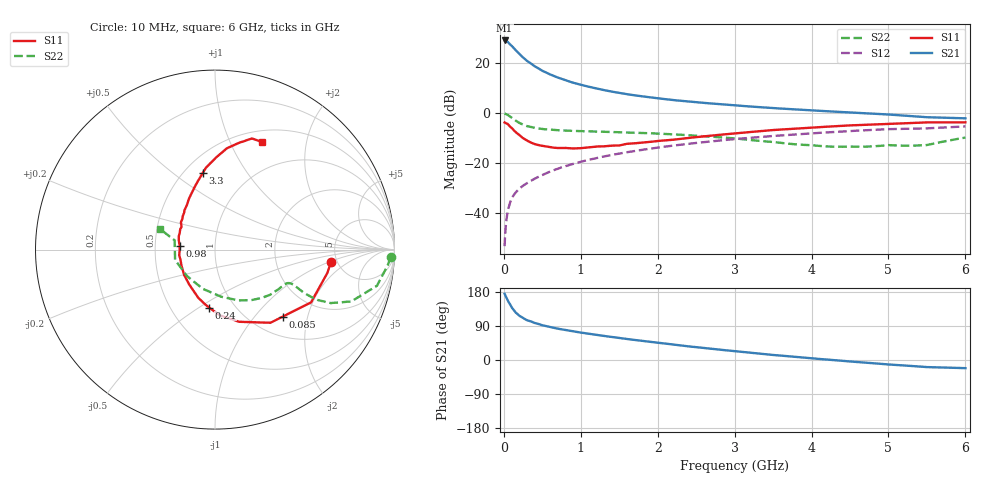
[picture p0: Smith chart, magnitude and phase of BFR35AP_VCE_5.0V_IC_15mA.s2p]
! Infineon Technologies  Discrete & RF Semiconductors
! BFR35AP
! VCE =  5.0 V,  IC =  15 mA
! Common Emitter S-Parameters:  Nov 2015
# GHz  S  MA  R  50
!  f  S11  S21  S12  S22
! GHz  MAG  ANG  MAG  ANG  MAG  ANG  MAG  ANG
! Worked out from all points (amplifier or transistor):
!   210 points, 10 MHz to 6 GHz, reference 50 ohm
!   highest |S21| = 29.0 dB at 10 MHz (marker M1)
!   |S21| within 3 dB of that: start of sweep to 127.7 MHz
!   unconditionally stable (mu >= 1): 479.3 MHz to 2.937 GHz
!   at 185 MHz: K = 0.65, MSG = 27.4 dB, |S12| = -30.7 dB
!   at 1.52 GHz: K = 1.10, MAG = 10.1 dB, |S12| = -16.0 dB
!   at 6 GHz: K = 0.93, MSG = 1.6 dB, |S12| = -5.3 dB
!   S11 on the Smith chart (normalised r, x): 10 MHz: 4.45, -1.06; 85 MHz: 1.36, -1.42; 240 MHz: 0.76, -0.55; 980 MHz: 0.67, +0.03; 3.3 GHz: 0.62, +0.64; 6 GHz: 0.63, +1.33
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0.01  0.65 -6.1  28.25 174.8  0.0022 91.6  0.9795 -2.5
0.02  0.6392 -11.8  28 170.0  0.0044 81.0  0.9662 -5.2
0.05  0.6107 -28.8  26.49 157.0  0.0109 78.5  0.9245 -12.6
0.085  0.5307 -44.7  23.33 145.2  0.017 71.5  0.8443 -18.1
0.1  0.5116 -52.8  22.34 139.2  0.0197 69.8  0.8127 -20.8
0.15  0.4241 -71.5  18.37 125.7  0.0256 65.7  0.7111 -24.8
0.2  0.3663 -85.9  15.28 117.0  0.0307 64.8  0.6395 -26.1
0.24  0.325 -95.7  13.33 111.7  0.0345 64.6  0.5974 -26.2
0.26  0.3091 -100.5  12.5 109.2  0.0364 64.8  0.5797 -26.1
0.3  0.284 -109.2  11.08 105.1  0.0399 65.7  0.5507 -25.9
0.4  0.2411 -126.8  8.641 97.8  0.0489 67.0  0.5074 -24.8
0.5  0.2222 -140.8  7.009 91.7  0.0579 67.7  0.4806 -24.2
0.7  0.2005 -163.0  5.14 82.7  0.0775 68.8  0.456 -24.2
0.98  0.1986 173.8  3.75 73.1  0.1047 67.9  0.4373 -26.0
1.02  0.201 170.9  3.615 71.8  0.1086 67.7  0.4354 -26.5
1.4  0.2248 149.4  2.688 60.8  0.1456 65.3  0.4198 -31.2
2.02  0.279 127.2  1.962 45.2  0.2066 59.4  0.3879 -41.7
3.1  0.4055 102.3  1.39 21.4  0.3117 47.0  0.3014 -67.9
3.3  0.4316 99.1  1.322 17.6  0.3301 44.5  0.2808 -74.7
4.1  0.5247 87.9  1.112 2.8  0.403 34.6  0.2214 -112.8
5.1  0.6167 76.3  0.915 -13.0  0.4811 20.6  0.2257 -171.0
6  0.6543 66.4  0.787 -21.5  0.5425 10.1  0.3247 159.6
